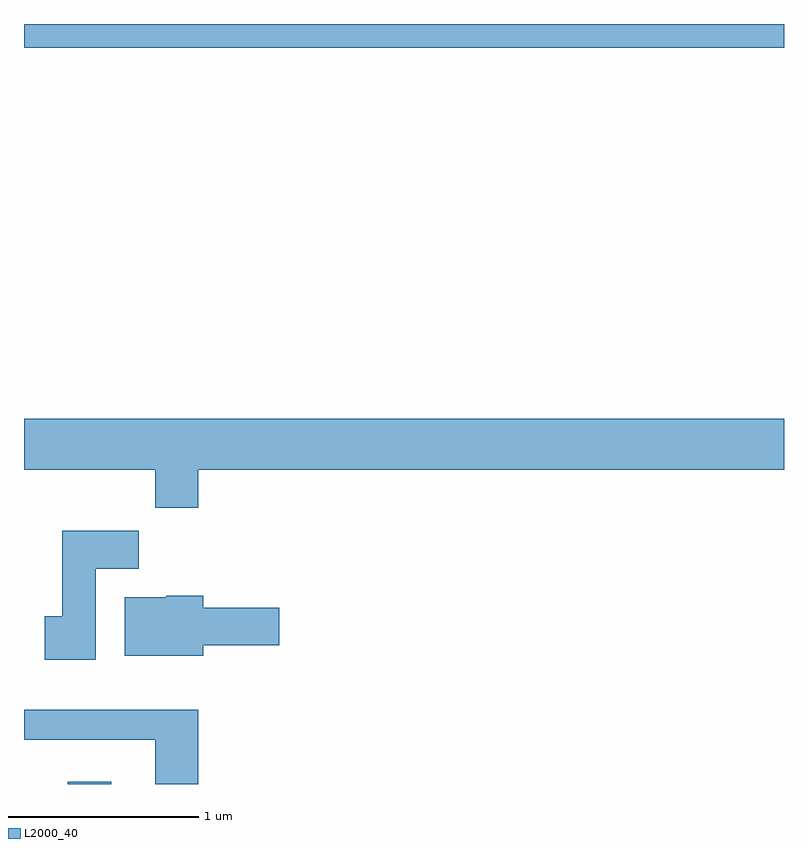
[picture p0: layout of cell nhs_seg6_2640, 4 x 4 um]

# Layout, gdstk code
import gdstk
lib = gdstk.Library(unit=1e-6, precision=1e-09)
def R(c, l, rs):  # rectangles x0, y0, x1, y1
    for r in rs: c.add(gdstk.rectangle(r[:2], r[2:], *l))
def P(c, l, *ps):  # polygons
    for p in ps: c.add(gdstk.Polygon(p, *l))
L2000_40 = (2000, 40)

nhs_seg6_2640 = lib.new_cell('nhs_seg6_2640')
R(nhs_seg6_2640, L2000_40, [(265.841,1546.162,266.069,1546.174), (265.611,1550.036,269.611,1550.162)])
P(nhs_seg6_2640, L2000_40, [(266.529,1547.816),(269.611,1547.816),(269.611,1548.084),(265.611,1548.084),(265.611,1547.816),(266.301,1547.816),(266.301,1547.616),(266.529,1547.616)],
  [(265.989,1547.296),(266.214,1547.296),(266.214,1547.494),(265.811,1547.494),(265.811,1547.044),(265.721,1547.044),(265.721,1546.816),(265.989,1546.816)],
  [(266.554,1546.891),(266.954,1546.891),(266.954,1547.089),(266.554,1547.089),(266.554,1547.154),(266.36,1547.154),(266.36,1547.144),(266.141,1547.144),(266.141,1546.836),(266.554,1546.836)],
  [(266.529,1546.554),(265.611,1546.554),(265.611,1546.396),(266.301,1546.396),(266.301,1546.162),(266.529,1546.162)])

lib.write_gds('nhs_seg6_2640.gds')
